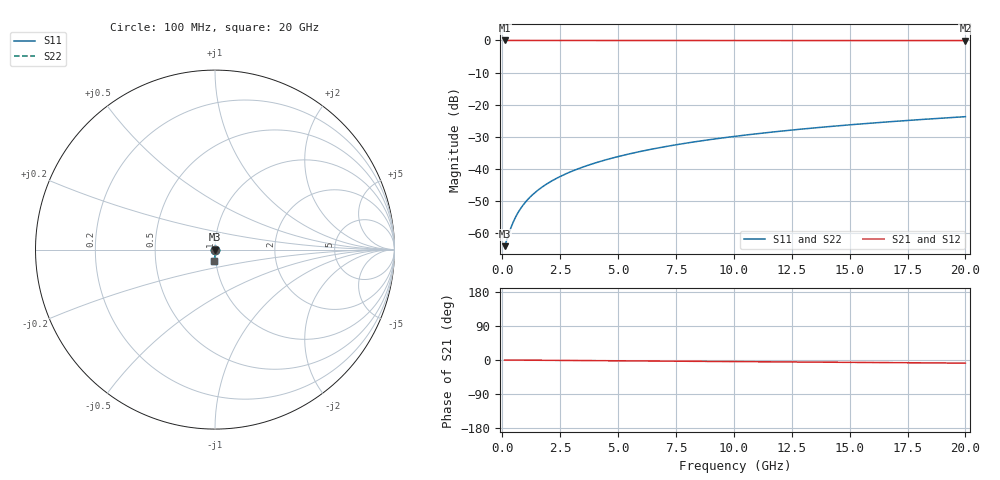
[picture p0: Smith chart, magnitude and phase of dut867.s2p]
! Touchstone file exported from HFSS 2026.1.0
!  File:  C:/ffzhzh/LocalFiles/Ansys_Project_Files/temp_train_TSV_867_1783185453_55132.aedt
!  Generated:  01:19:20 AM Jul  5, 2026
!  Design:  TSV
!  Project:  temp_train_TSV_867_1783185453_55132
! Variables:
!  h_bsmrdl = 2um
!  h_ox = 20um
!  h_rdl = 5um
!  h_sub = 80.91um
!  h_tmrdl = 5um
!  h_tsv = 80.91um
!  h_via = 3um
!  l_bsmrdl = 300um
!  l_sub = 408.36um
!  l_tmrdl = 200um
!  m_sub = 200um
!  pitch = 11.3um
!  r_tsv = 4.18um
!  s_tmrdl = 10um
!  w_bsmrdl = 18um
!  w_sub = 500um
!  w_tmrdl = 12um
!  x_tsv_center1 = 206um
!  x_tsv_center2 = 524um
!  x_tsv_center3 = 736um
!  x_tsv_center4 = 1054um
!  x_tsv_center5 = 1266um
!  x_tsv_center6 = 1584um
# GHz S MA R 50.000000
! Terminal data exported
! Port[1] = TSV1_1_T1
! Port[2] = TSV1_1_T2
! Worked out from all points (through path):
!   200 points, 100 MHz to 20 GHz, reference 50 ohm
!   highest |S21| = 0.00 dB at 100 MHz (marker M1); lowest = 0.0 dB at 20 GHz (marker M2)
!   group delay of S21, straight-line fit = 1.14 ps
!   lowest |S11| = -64.1 dB at 100 MHz (marker M3), VSWR 1.00, Z = 50.1 - j0.024 ohm
!   |S11| at or under -10 dB: start of sweep to end of sweep
!   |S22| runs from -64.1 to -23.8 dB; largest |S21 - S12| = 4.5e-15
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0.1  0.0006203 -22.8  0.9994 -0.0  0.9994 -0.0  0.0006203 -22.8
! Gamma 0 0 0 0
! Port Impedance 50 0 50 0
0.3  0.001015 -50.3  0.9993 -0.1  0.9993 -0.1  0.001015 -50.3
0.4  0.001275 -57.6  0.9993 -0.2  0.9993 -0.2  0.001275 -57.6
0.5  0.001552 -62.7  0.9993 -0.2  0.9993 -0.2  0.001552 -62.7
0.6  0.001837 -66.5  0.9993 -0.3  0.9993 -0.3  0.001837 -66.5
0.7  0.002127 -69.4  0.9992 -0.3  0.9992 -0.3  0.002127 -69.4
0.9  0.002717 -73.4  0.9992 -0.4  0.9992 -0.4  0.002717 -73.4
1.2  0.003611 -77.2  0.9992 -0.5  0.9992 -0.5  0.003611 -77.2
1.4  0.004212 -78.8  0.9991 -0.6  0.9991 -0.6  0.004212 -78.8
1.7  0.005119 -80.5  0.9991 -0.7  0.9991 -0.7  0.005119 -80.5
2.2  0.006643 -82.4  0.999 -0.9  0.999 -0.9  0.006643 -82.4
2.8  0.008494 -83.7  0.9989 -1.2  0.9989 -1.2  0.008494 -83.7
3.5  0.01068 -84.8  0.9987 -1.5  0.9987 -1.5  0.01068 -84.8
4.2  0.0129 -85.6  0.9985 -1.8  0.9985 -1.8  0.0129 -85.6
5  0.01547 -86.4  0.9983 -2.1  0.9983 -2.1  0.01547 -86.4
5.9  0.01838 -87.1  0.9981 -2.5  0.9981 -2.5  0.01838 -87.1
6.8  0.02132 -87.8  0.9979 -2.9  0.9979 -2.9  0.02132 -87.8
8.3  0.02624 -88.8  0.9975 -3.5  0.9975 -3.5  0.02624 -88.8
10.1  0.03217 -90.0  0.9971 -4.2  0.9971 -4.2  0.03217 -90.0
13.4  0.04305 -91.9  0.9963 -5.6  0.9963 -5.6  0.04305 -91.9
16.7  0.05393 -93.6  0.9955 -6.9  0.9955 -6.9  0.05393 -93.6
20  0.06479 -95.2  0.9945 -8.3  0.9945 -8.3  0.06479 -95.2
